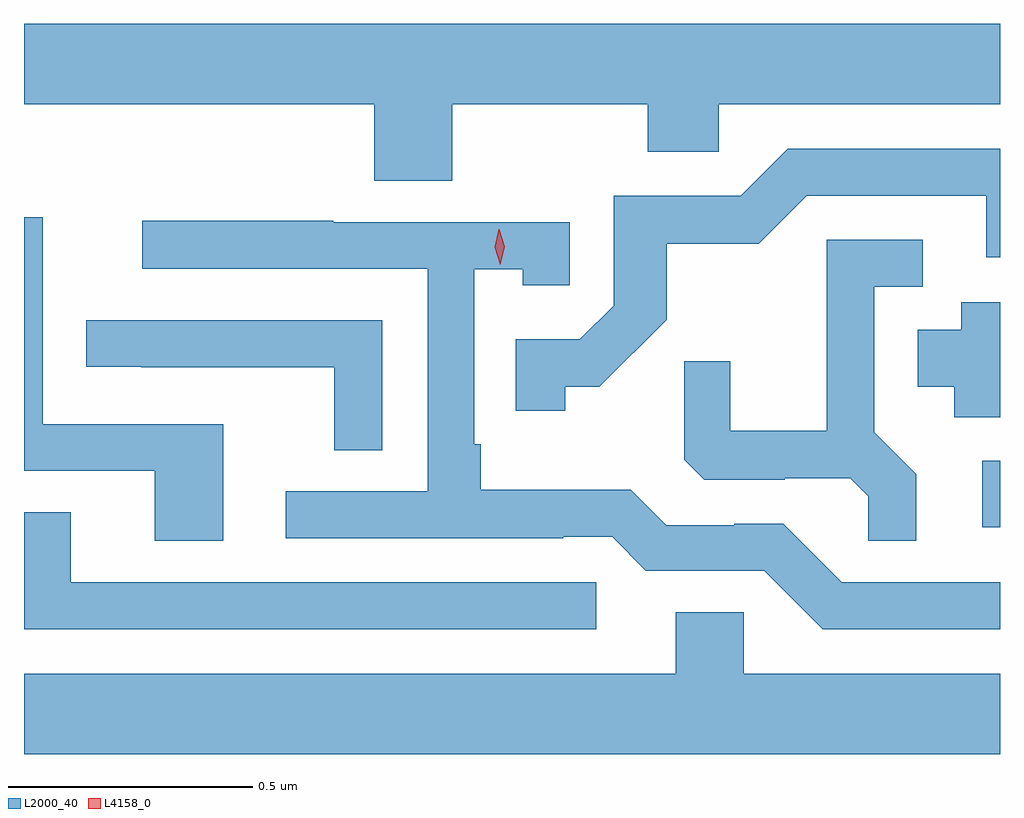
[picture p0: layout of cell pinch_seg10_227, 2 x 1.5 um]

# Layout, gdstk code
import gdstk
lib = gdstk.Library(unit=1e-6, precision=1e-09)
def R(c, l, rs):  # rectangles x0, y0, x1, y1
    for r in rs: c.add(gdstk.rectangle(r[:2], r[2:], *l))
def P(c, l, *ps):  # polygons
    for p in ps: c.add(gdstk.Polygon(p, *l))
L2000_40 = (2000, 40)
L4158_0 = (4158, 0)

pinch_seg10_227 = lib.new_cell('pinch_seg10_227')
R(pinch_seg10_227, L2000_40, [(640.683,1292.789,640.719,1292.925)])
P(pinch_seg10_227, L2000_40, [(639.597,1293.656),(639.997,1293.656),(639.997,1293.558),(640.143,1293.558),(640.143,1293.656),(640.719,1293.656),(640.719,1293.82),(638.719,1293.82),(638.719,1293.656),(639.437,1293.656),(639.437,1293.499),(639.597,1293.499)],
  [(639.828,1293.077),(639.898,1293.077),(640.036,1293.214),(640.036,1293.37),(640.225,1293.37),(640.323,1293.468),(640.691,1293.468),(640.691,1293.342),(640.719,1293.342),(640.719,1293.564),(640.284,1293.564),(640.188,1293.468),(639.927,1293.468),(639.927,1293.243),(639.858,1293.174),(639.727,1293.174),(639.727,1293.027),(639.828,1293.027)],
  [(639.127,1293),(638.757,1293),(638.757,1293.424),(638.719,1293.424),(638.719,1292.904),(638.987,1292.904),(638.987,1292.761),(639.127,1292.761)],
  [(640.719,1292.676),(640.395,1292.676),(640.275,1292.796),(640.174,1292.796),(640.174,1292.793),(640.035,1292.793),(639.962,1292.866),(639.655,1292.866),(639.655,1292.959),(639.642,1292.959),(639.642,1293.317),(639.741,1293.317),(639.741,1293.285),(639.837,1293.285),(639.837,1293.414),(639.353,1293.414),(639.353,1293.417),(638.961,1293.417),(638.961,1293.318),(639.546,1293.318),(639.546,1292.862),(639.255,1292.862),(639.255,1292.766),(639.824,1292.766),(639.824,1292.769),(639.924,1292.769),(639.993,1292.7),(640.236,1292.7),(640.356,1292.58),(640.719,1292.58)],
  [(640.547,1292.897),(640.461,1292.983),(640.461,1293.282),(640.561,1293.282),(640.561,1293.378),(640.364,1293.378),(640.364,1292.986),(640.166,1292.986),(640.166,1293.129),(640.072,1293.129),(640.072,1292.927),(640.113,1292.886),(640.278,1292.886),(640.278,1292.889),(640.412,1292.889),(640.449,1292.852),(640.449,1292.761),(640.547,1292.761)],
  [(640.719,1293.25),(640.64,1293.25),(640.64,1293.193),(640.55,1293.193),(640.55,1293.077),(640.625,1293.077),(640.625,1293.014),(640.719,1293.014)],
  [(639.453,1293.213),(638.847,1293.213),(638.847,1293.118),(638.959,1293.118),(638.959,1293.117),(639.355,1293.117),(639.355,1292.947),(639.453,1292.947)],
  [(639.892,1292.676),(638.815,1292.676),(638.815,1292.819),(638.719,1292.819),(638.719,1292.58),(639.892,1292.58)],
  [(640.719,1292.488),(640.194,1292.488),(640.194,1292.615),(640.055,1292.615),(640.055,1292.488),(638.719,1292.488),(638.719,1292.324),(640.719,1292.324)])
P(pinch_seg10_227, L4158_0, [(639.695,1293.327),(639.695,1293.327),(639.684,1293.362),(639.692,1293.399),(639.693,1293.399),(639.693,1293.399),(639.704,1293.363),(639.695,1293.327)])

lib.write_gds('pinch_seg10_227.gds')
